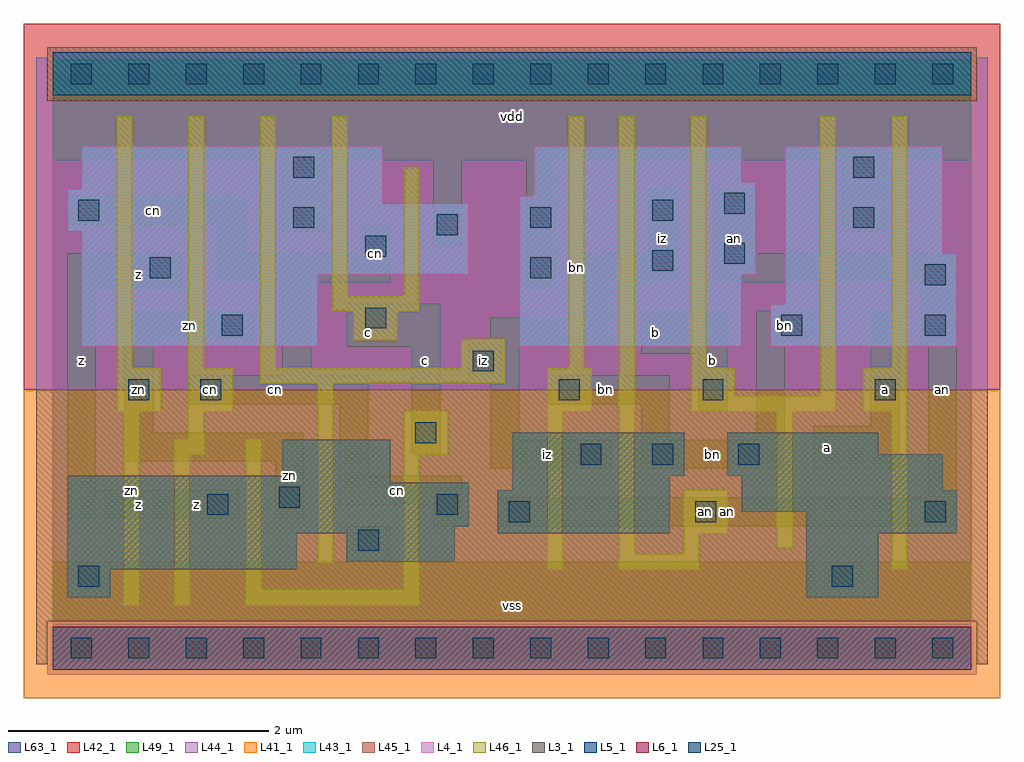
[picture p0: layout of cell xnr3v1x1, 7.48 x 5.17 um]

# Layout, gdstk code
import gdstk
lib = gdstk.Library(unit=1e-6, precision=1e-09)
def R(c, l, rs):  # rectangles x0, y0, x1, y1
    for r in rs: c.add(gdstk.rectangle(r[:2], r[2:], *l))
def A(c, l, x, y, w, h, nx, ny, dx, dy):  # array of equal rectangles
    R(c, l, [(x+i*dx, y+j*dy, x+i*dx+w, y+j*dy+h) for i in range(nx) for j in range(ny)])
L3_1 = (3, 1)
L4_1 = (4, 1)
L5_1 = (5, 1)
L6_1 = (6, 1)
L25_1 = (25, 1)
L41_1 = (41, 1)
L42_1 = (42, 1)
L43_1 = (43, 1)
L44_1 = (44, 1)
L45_1 = (45, 1)
L46_1 = (46, 1)
L49_1 = (49, 1)
L63_1 = (63, 1)

xnr3v1x1 = lib.new_cell('xnr3v1x1')
R(xnr3v1x1, L3_1, [(0.11,0.385,0.44,0.605), (5.775,0.385,6.325,0.88), (0.11,0.605,1.87,0.88), (2.255,0.66,3.08,0.88), (0.11,0.88,3.08,0.935), (3.41,0.88,4.73,1.21), (5.775,0.88,6.93,1.045), (0.11,0.935,3.19,1.265), (5.28,1.045,6.93,1.21), (3.52,1.21,4.73,1.32), (5.28,1.21,6.82,1.32), (0.11,1.265,2.585,1.32), (1.76,1.32,2.585,1.595), (3.52,1.32,4.84,1.65), (5.17,1.32,6.82,1.485), (5.17,1.485,6.325,1.65)])
R(xnr3v1x1, L4_1, [(0.22,2.31,2.035,2.86), (3.575,2.31,5.28,2.86), (5.5,2.31,6.93,2.64), (5.61,2.64,6.93,3.025), (0.22,2.86,3.19,3.19), (3.575,2.86,5.39,3.465), (5.61,3.025,6.82,3.85), (0.11,3.19,3.19,3.41), (0.11,3.41,2.53,3.52), (3.685,3.465,5.39,3.575), (0.22,3.52,2.53,3.85), (3.685,3.575,5.28,3.85)])
R(xnr3v1x1, L5_1, [(0,4.235,7.04,4.565)])
R(xnr3v1x1, L6_1, [(0,-0.165,7.04,0.165)])
A(xnr3v1x1, L25_1, 0.14, -0.08, 0.16, 0.16, 16, 2, 0.44, 4.4)
R(xnr3v1x1, L25_1, [(0.195,0.47,0.355,0.63), (5.97,0.47,6.13,0.63), (2.34,0.745,2.5,0.905), (3.495,0.965,3.655,1.125), (4.925,0.965,5.085,1.125), (6.685,0.965,6.845,1.125), (1.185,1.02,1.345,1.18), (2.945,1.02,3.105,1.18), (1.735,1.075,1.895,1.235), (4.045,1.405,4.205,1.565), (4.595,1.405,4.755,1.565), (5.255,1.405,5.415,1.565), (2.78,1.57,2.94,1.73), (0.58,1.9,0.74,2.06), (1.13,1.9,1.29,2.06), (3.88,1.9,4.04,2.06), (4.98,1.9,5.14,2.06), (6.3,1.9,6.46,2.06), (3.22,2.12,3.38,2.28), (1.295,2.395,1.455,2.555), (5.585,2.395,5.745,2.555), (6.685,2.395,6.845,2.555), (2.395,2.45,2.555,2.61), (6.685,2.78,6.845,2.94), (0.745,2.835,0.905,2.995), (3.66,2.835,3.82,2.995), (4.595,2.89,4.755,3.05), (5.145,2.945,5.305,3.105), (2.395,3,2.555,3.16), (2.945,3.165,3.105,3.325), (1.845,3.22,2.005,3.38), (3.66,3.22,3.82,3.38), (6.135,3.22,6.295,3.38), (0.195,3.275,0.355,3.435), (4.595,3.275,4.755,3.435), (5.145,3.33,5.305,3.49), (1.845,3.605,2.005,3.765), (6.135,3.605,6.295,3.765)])
R(xnr3v1x1, L41_1, [(-0.22,-0.385,7.26,1.98)])
R(xnr3v1x1, L42_1, [(-0.22,1.98,7.26,4.785)])
R(xnr3v1x1, L43_1, [(0,-0.165,7.04,0.165), (0.11,0.385,0.44,0.605), (5.775,0.385,6.325,0.88), (0.11,0.605,1.87,0.88), (2.255,0.66,3.08,0.88), (0.11,0.88,3.08,0.935), (3.41,0.88,4.73,1.21), (5.775,0.88,6.93,1.045), (0.11,0.935,3.19,1.265), (5.28,1.045,6.93,1.21), (3.52,1.21,4.73,1.32), (5.28,1.21,6.82,1.32), (0.11,1.265,2.585,1.32), (1.76,1.32,2.585,1.595), (3.52,1.32,4.84,1.65), (5.17,1.32,6.82,1.485), (5.17,1.485,6.325,1.65), (0.22,2.31,2.035,2.86), (3.575,2.31,5.28,2.86), (5.5,2.31,6.93,2.64), (5.61,2.64,6.93,3.025), (0.22,2.86,3.19,3.19), (3.575,2.86,5.39,3.465), (5.61,3.025,6.82,3.85), (0.11,3.19,3.19,3.41), (0.11,3.41,2.53,3.52), (3.685,3.465,5.39,3.575), (0.22,3.52,2.53,3.85), (3.685,3.575,5.28,3.85), (0,4.235,7.04,4.565)])
R(xnr3v1x1, L44_1, [(-0.04,-0.205,7.08,0.205), (-0.125,1.98,7.165,4.195), (-0.125,4.195,-0.04,4.525), (7.08,4.195,7.165,4.525)])
R(xnr3v1x1, L45_1, [(-0.125,-0.125,-0.04,0.205), (7.08,-0.125,7.165,0.205), (-0.125,0.205,7.165,1.98), (-0.04,4.195,7.08,4.605)])
A(xnr3v1x1, L46_1, 0.49, 2.15, 0.12, 1.925, 3, 1, 0.55, 0)
R(xnr3v1x1, L46_1, [(0.545,0.325,0.665,1.81), (0.93,0.325,1.05,1.48), (1.48,0.325,2.81,0.445), (1.48,0.445,1.6,1.6), (2.69,0.445,2.81,1.48), (3.79,0.6,3.91,1.81), (4.34,0.6,4.955,0.72), (6.43,0.6,6.55,1.81), (2.03,0.655,2.15,2.03), (4.34,0.72,4.46,4.075), (4.835,0.72,4.955,0.875), (5.55,0.765,5.67,1.81), (4.835,0.875,5.175,1.215), (0.93,1.48,1.16,1.6), (2.69,1.48,3.03,1.82), (1.04,1.6,1.16,1.81), (0.49,1.81,0.83,2.15), (1.04,1.81,1.38,2.15), (3.79,1.81,4.13,2.15), (4.89,1.81,6,1.93), (6.21,1.81,6.55,2.15), (4.89,1.93,5.23,2.15), (5.88,1.93,6,4.075), (1.59,2.03,3.47,2.15), (3.13,2.15,3.47,2.37), (3.955,2.15,4.075,4.075), (4.89,2.15,5.01,4.075), (6.43,2.15,6.55,4.075), (2.305,2.36,2.645,2.58), (2.14,2.58,2.81,2.7), (2.14,2.7,2.26,4.075), (2.69,2.7,2.81,3.69)])
R(xnr3v1x1, L49_1, [(0,-0.11,7.04,0.66), (2.255,0.66,2.585,0.935), (2.915,0.935,3.135,1.1), (3.41,0.935,6.93,1.155), (0.11,0.99,1.43,1.21), (1.705,0.99,1.925,1.43), (2.2,1.1,3.135,1.32), (6.71,1.155,6.93,2.31), (0.11,1.21,0.33,2.75), (2.2,1.32,2.42,1.87), (3.355,1.375,4.29,1.595), (4.51,1.375,5.61,1.595), (5.83,1.375,6.49,1.705), (0.55,1.43,1.925,1.65), (2.75,1.485,2.97,2.31), (3.355,1.595,3.575,2.035), (4.51,1.595,4.73,1.87), (5.39,1.595,5.61,2.365), (0.55,1.65,0.77,2.365), (6.27,1.705,6.49,2.585), (4.95,1.815,5.17,2.255), (1.045,1.87,2.42,2.09), (3.795,1.87,4.73,2.09), (3.19,2.035,3.575,2.31), (1.76,2.09,1.98,2.805), (4.51,2.255,5.17,2.585), (2.255,2.31,2.97,2.64), (3.19,2.31,4.29,2.365), (6.655,2.31,6.93,2.805), (0.55,2.365,1.54,2.585), (3.355,2.365,4.29,2.53), (5.39,2.365,5.83,2.585), (4.07,2.53,4.29,2.805), (0.11,2.75,0.99,3.025), (3.63,2.75,3.85,3.74), (1.265,2.805,2.585,3.025), (4.07,2.805,4.785,3.025), (5.06,2.805,6.93,3.025), (1.265,3.025,1.485,3.245), (2.365,3.025,2.585,3.245), (4.565,3.025,4.785,3.52), (5.06,3.025,5.39,3.52), (2.915,3.08,3.135,3.74), (1.76,3.19,2.09,3.74), (6.05,3.19,6.38,3.74), (0.11,3.245,1.485,3.465), (0,3.74,7.04,4.51)])
R(xnr3v1x1, L63_1, [(0,0,7.04,4.4)])
xnr3v1x1.add(gdstk.Label('zn', (0.605,1.21), layer=46, texttype=1))
xnr3v1x1.add(gdstk.Label('cn', (1.21,1.98), layer=49, texttype=1))
xnr3v1x1.add(gdstk.Label('iz', (3.3,2.2), layer=49, texttype=1))
xnr3v1x1.add(gdstk.Label('bn', (4.015,2.915), layer=46, texttype=1))
xnr3v1x1.add(gdstk.Label('an', (5.005,1.045), layer=49, texttype=1))
xnr3v1x1.add(gdstk.Label('z', (1.1,1.1), layer=49, texttype=1))
xnr3v1x1.add(gdstk.Label('z', (0.66,1.1), layer=49, texttype=1))
xnr3v1x1.add(gdstk.Label('zn', (0.66,1.98), layer=49, texttype=1))
xnr3v1x1.add(gdstk.Label('z', (0.22,2.2), layer=49, texttype=1))
xnr3v1x1.add(gdstk.Label('z', (0.66,2.86), layer=49, texttype=1))
xnr3v1x1.add(gdstk.Label('zn', (1.815,1.32), layer=49, texttype=1))
xnr3v1x1.add(gdstk.Label('zn', (1.045,2.475), layer=49, texttype=1))
xnr3v1x1.add(gdstk.Label('cn', (1.705,1.98), layer=49, texttype=1))
xnr3v1x1.add(gdstk.Label('c', (2.42,2.42), layer=49, texttype=1))
xnr3v1x1.add(gdstk.Label('cn', (0.77,3.355), layer=49, texttype=1))
xnr3v1x1.add(gdstk.Label('cn', (2.475,3.025), layer=49, texttype=1))
xnr3v1x1.add(gdstk.Label('vss', (3.52,0.33), layer=49, texttype=1))
xnr3v1x1.add(gdstk.Label('cn', (2.64,1.21), layer=49, texttype=1))
xnr3v1x1.add(gdstk.Label('c', (2.86,2.2), layer=49, texttype=1))
xnr3v1x1.add(gdstk.Label('iz', (3.355,2.2), layer=49, texttype=1))
xnr3v1x1.add(gdstk.Label('vdd', (3.52,4.07), layer=49, texttype=1))
xnr3v1x1.add(gdstk.Label('iz', (3.795,1.485), layer=49, texttype=1))
xnr3v1x1.add(gdstk.Label('bn', (5.06,1.485), layer=49, texttype=1))
xnr3v1x1.add(gdstk.Label('bn', (4.235,1.98), layer=49, texttype=1))
xnr3v1x1.add(gdstk.Label('b', (5.06,2.2), layer=49, texttype=1))
xnr3v1x1.add(gdstk.Label('b', (4.62,2.42), layer=49, texttype=1))
xnr3v1x1.add(gdstk.Label('iz', (4.675,3.135), layer=49, texttype=1))
xnr3v1x1.add(gdstk.Label('an', (5.225,3.135), layer=49, texttype=1))
xnr3v1x1.add(gdstk.Label('an', (5.17,1.045), layer=49, texttype=1))
xnr3v1x1.add(gdstk.Label('a', (5.94,1.54), layer=49, texttype=1))
xnr3v1x1.add(gdstk.Label('bn', (5.61,2.475), layer=49, texttype=1))
xnr3v1x1.add(gdstk.Label('a', (6.38,1.98), layer=49, texttype=1))
xnr3v1x1.add(gdstk.Label('an', (6.82,1.98), layer=49, texttype=1))

lib.write_gds('xnr3v1x1.gds')
